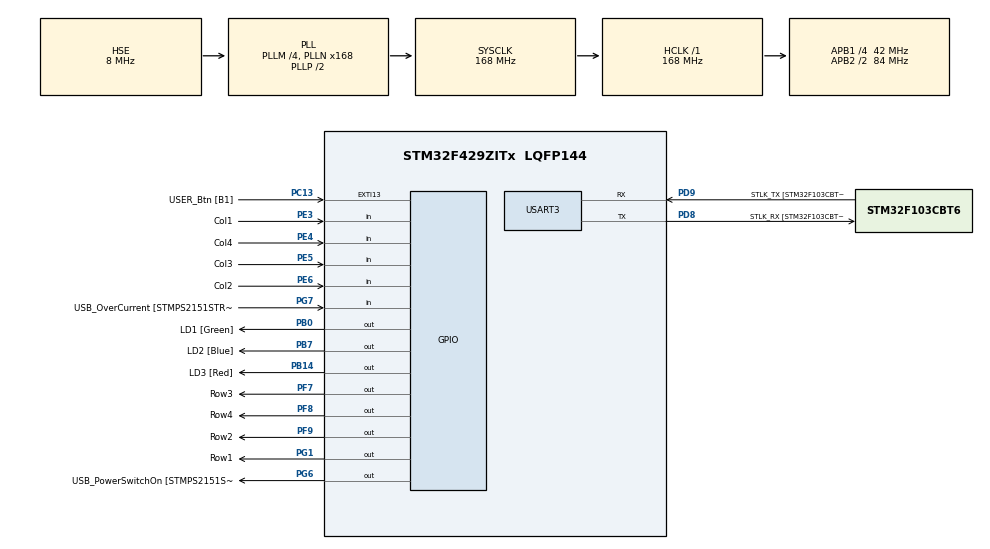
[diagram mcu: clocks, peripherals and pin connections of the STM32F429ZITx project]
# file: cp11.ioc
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Mcu.Family=STM32F4
Mcu.Name=STM32F429ZITx
Mcu.Package=LQFP144
NVIC.PriorityGroup=NVIC_PRIORITYGROUP_4
NVIC.TIM3_IRQn=true\:0\:0\:false\:false\:true\:true\:true\:true
PA1.GPIO_Label=RMII_REF_CLK [LAN8742A-CZ-TR_REFCLK0]
PA1.Signal=ETH_REF_CLK
PA10.GPIO_Label=USB_ID
PA10.Signal=USB_OTG_FS_ID
PA11.GPIO_Label=USB_DM
PA11.Signal=USB_OTG_FS_DM
PA12.GPIO_Label=USB_DP
PA12.Signal=USB_OTG_FS_DP
PA13.GPIO_Label=TMS
PA13.Mode=Serial_Wire
PA13.Signal=SYS_JTMS-SWDIO
PA14.GPIO_Label=TCK
PA14.Mode=Serial_Wire
PA14.Signal=SYS_JTCK-SWCLK
PA2.GPIO_Label=RMII_MDIO [LAN8742A-CZ-TR_MDIO]
PA2.Signal=ETH_MDIO
PA7.GPIO_Label=RMII_CRS_DV [LAN8742A-CZ-TR_CRS_DV]
PA7.Signal=ETH_CRS_DV
PA8.GPIO_Label=USB_SOF [TP1]
PA8.Signal=USB_OTG_FS_SOF
PA9.GPIO_Label=USB_VBUS
PA9.Signal=USB_OTG_FS_VBUS
PB0.GPIO_Label=LD1 [Green]
PB0.GPIO_ModeDefaultOutputPP=GPIO_MODE_OUTPUT_OD
PB0.GPIO_PuPd=GPIO_PULLUP
PB0.Signal=GPIO_Output
PB13.GPIO_Label=RMII_TXD1 [LAN8742A-CZ-TR_TXD1]
PB13.Signal=ETH_TXD1
PB14.GPIO_Label=LD3 [Red]
PB14.GPIO_ModeDefaultOutputPP=GPIO_MODE_OUTPUT_OD
PB14.GPIO_PuPd=GPIO_PULLUP
PB14.Signal=GPIO_Output
PB7.GPIO_Label=LD2 [Blue]
PB7.GPIO_ModeDefaultOutputPP=GPIO_MODE_OUTPUT_OD
PB7.GPIO_PuPd=GPIO_PULLUP
PB7.Signal=GPIO_Output
PC1.GPIO_Label=RMII_MDC [LAN8742A-CZ-TR_MDC]
PC1.Signal=ETH_MDC
PC13.GPIO_Label=USER_Btn [B1]
PC13.Signal=GPXTI13
PC14/OSC32_IN.Mode=LSE-External-Oscillator
PC14/OSC32_IN.Signal=RCC_OSC32_IN
PC15/OSC32_OUT.Mode=LSE-External-Oscillator
PC15/OSC32_OUT.Signal=RCC_OSC32_OUT
PC4.GPIO_Label=RMII_RXD0 [LAN8742A-CZ-TR_RXD0]
PC4.Signal=ETH_RXD0
PC5.GPIO_Label=RMII_RXD1 [LAN8742A-CZ-TR_RXD1]
PC5.Signal=ETH_RXD1
PD8.GPIO_Label=STLK_RX [STM32F103CBT6_PA3]
PD8.Mode=Asynchronous
PD8.Signal=USART3_TX
PD9.GPIO_Label=STLK_TX [STM32F103CBT6_PA2]
PD9.Mode=Asynchronous
PD9.Signal=USART3_RX
PE3.GPIO_Label=Col1
PE3.GPIO_PuPd=GPIO_PULLUP
PE3.Signal=GPIO_Input
PE4.GPIO_Label=Col4
PE4.GPIO_PuPd=GPIO_PULLUP
PE4.Signal=GPIO_Input
PE5.GPIO_Label=Col3
PE5.GPIO_PuPd=GPIO_PULLUP
PE5.Signal=GPIO_Input
PE6.GPIO_Label=Col2
PE6.GPIO_PuPd=GPIO_PULLUP
PE6.Signal=GPIO_Input
PF7.GPIO_Label=Row3
PF7.GPIO_ModeDefaultOutputPP=GPIO_MODE_OUTPUT_OD
PF7.GPIO_PuPd=GPIO_PULLUP
PF7.Signal=GPIO_Output
PF8.GPIO_Label=Row4
PF8.GPIO_ModeDefaultOutputPP=GPIO_MODE_OUTPUT_OD
PF8.GPIO_PuPd=GPIO_PULLUP
PF8.Signal=GPIO_Output
PF9.GPIO_Label=Row2
PF9.GPIO_ModeDefaultOutputPP=GPIO_MODE_OUTPUT_OD
PF9.GPIO_PuPd=GPIO_PULLUP
PF9.Signal=GPIO_Output
PG1.GPIO_Label=Row1
PG1.GPIO_ModeDefaultOutputPP=GPIO_MODE_OUTPUT_OD
PG1.GPIO_PuPd=GPIO_PULLUP
PG1.Signal=GPIO_Output
PG11.GPIO_Label=RMII_TX_EN [LAN8742A-CZ-TR_TXEN]
PG11.Signal=ETH_TX_EN
PG13.GPIO_Label=RMII_TXD0 [LAN8742A-CZ-TR_TXD0]
PG13.Signal=ETH_TXD0
PG6.GPIO_Label=USB_PowerSwitchOn [STMPS2151STR_EN]
PG6.GPIO_ModeDefaultOutputPP=GPIO_MODE_OUTPUT_OD
PG6.GPIO_PuPd=GPIO_PULLUP
PG6.Signal=GPIO_Output
PG7.GPIO_Label=USB_OverCurrent [STMPS2151STR_FAULT]
PG7.Signal=GPIO_Input
PH0/OSC_IN.GPIO_Label=MCO [STM32F103CBT6_PA8]
PH0/OSC_IN.Mode=HSE-External-Clock-Source
PH0/OSC_IN.Signal=RCC_OSC_IN
PH1/OSC_OUT.Mode=HSE-External-Clock-Source
PH1/OSC_OUT.Signal=RCC_OSC_OUT
ProjectManager.HeapSize=0x200
ProjectManager.StackSize=0x400
ProjectManager.TargetToolchain=STM32CubeIDE
RCC.48MHZClocksFreq_Value=48000000
RCC.AHBFreq_Value=168000000
RCC.APB1CLKDivider=RCC_HCLK_DIV4
RCC.APB1Freq_Value=42000000
RCC.APB1TimFreq_Value=84000000
RCC.APB2CLKDivider=RCC_HCLK_DIV2
RCC.APB2Freq_Value=84000000
RCC.APB2TimCLKDivider=2
RCC.APB2TimFreq_Value=168000000
RCC.CortexFreq_Value=168000000
RCC.HCLKFreq_Value=168000000
RCC.HSE_VALUE=8000000
RCC.HSI_VALUE=16000000
RCC.PLLM=4
RCC.PLLMUL=RCC_PLL_MUL9
RCC.PLLN=168
RCC.PLLQ=7
RCC.PLLSourceVirtual=RCC_PLLSOURCE_HSE
RCC.PRESCALERUSB=RCC_USBCLKSOURCE_PLL_DIV1_5
RCC.SYSCLKFreq_VALUE=168000000
RCC.SYSCLKSource=RCC_SYSCLKSOURCE_PLLCLK
RCC.SYSCLKSourceVirtual=RCC_SYSCLKSOURCE_PLLCLK
RCC.USBFreq_Value=48000000
RCC.VCOOutputFreq_Value=336000000
TIM3.AutoReloadPreload=TIM_AUTORELOAD_PRELOAD_ENABLE
TIM3.Period=99
TIM3.Prescaler=8399
USART3.VirtualMode=VM_ASYNC
VP_TIM3_VS_ClockSourceINT.Mode=Internal
board=NUCLEO-F429ZI

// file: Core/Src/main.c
/* USER CODE BEGIN Header */
/**
  ******************************************************************************
  * @file           : main.c
  * @brief          : Main program body
  ******************************************************************************
  * @attention
  *
  * Copyright (c) 2024 STMicroelectronics.
  * All rights reserved.
  *
  * This software is licensed under terms that can be found in the LICENSE file
  * in the root directory of this software component.
  * If no LICENSE file comes with this software, it is provided AS-IS.
  *
  ******************************************************************************
  */
/* USER CODE END Header */
#include "main.h"

/* USER CODE BEGIN Includes */
#include <stdio.h>
/* USER CODE END Includes */

TIM_HandleTypeDef htim3;

UART_HandleTypeDef huart3;

/* USER CODE BEGIN PV */
static volatile key = -1;
/* USER CODE END PV */

void SystemClock_Config(void);
static void MX_GPIO_Init(void);
static void MX_USART3_UART_Init(void);
static void MX_TIM3_Init(void);

/* USER CODE BEGIN 0 */

int __io_putchar(int ch)
{
ITM_SendChar(ch);
return 0;
}

/* USER CODE END 0 */

int main(void)
{

  /* MCU Configuration--------------------------------------------------------*/

  /* Reset of all peripherals, Initializes the Flash interface and the Systick. */
  HAL_Init();

  /* Configure the system clock */
  SystemClock_Config();

  /* Initialize all configured peripherals */
  MX_GPIO_Init();
  MX_USART3_UART_Init();
  MX_TIM3_Init();
  /* USER CODE BEGIN 2 */
  HAL_TIM_Base_Start_IT(&htim3);
  printf("Test\n");

  /* USER CODE END 2 */

  /* Infinite loop */
  /* USER CODE BEGIN WHILE */
  while (1)
  {

	//  HAL_GPIO_TogglePin(LD1_GPIO_Port, LD1_Pin);
	//  HAL_Delay(300);
	//  printf("Hello, World!\n");

	  if (key != 0) {
	   printf("stisknuto '%c'\n", key);
	   HAL_Delay(500);
	   key = 0;
	  }

    /* USER CODE END WHILE */

  }
}

void SystemClock_Config(void)
{
  RCC_OscInitTypeDef RCC_OscInitStruct = {0};
  RCC_ClkInitTypeDef RCC_ClkInitStruct = {0};

  /** Configure the main internal regulator output voltage
  */
  __HAL_RCC_PWR_CLK_ENABLE();
  __HAL_PWR_VOLTAGESCALING_CONFIG(PWR_REGULATOR_VOLTAGE_SCALE1);

  /** Initializes the RCC Oscillators according to the specified parameters
  * in the RCC_OscInitTypeDef structure.
  */
  RCC_OscInitStruct.OscillatorType = RCC_OSCILLATORTYPE_HSE;
  RCC_OscInitStruct.HSEState = RCC_HSE_BYPASS;
  RCC_OscInitStruct.PLL.PLLState = RCC_PLL_ON;
  RCC_OscInitStruct.PLL.PLLSource = RCC_PLLSOURCE_HSE;
  RCC_OscInitStruct.PLL.PLLM = 4;
  RCC_OscInitStruct.PLL.PLLN = 168;
  RCC_OscInitStruct.PLL.PLLP = RCC_PLLP_DIV2;
  RCC_OscInitStruct.PLL.PLLQ = 7;
  if (HAL_RCC_OscConfig(&RCC_OscInitStruct) != HAL_OK)
  {
    Error_Handler();
  }

  /** Initializes the CPU, AHB and APB buses clocks
  */
  RCC_ClkInitStruct.ClockType = RCC_CLOCKTYPE_HCLK|RCC_CLOCKTYPE_SYSCLK
                              |RCC_CLOCKTYPE_PCLK1|RCC_CLOCKTYPE_PCLK2;
  RCC_ClkInitStruct.SYSCLKSource = RCC_SYSCLKSOURCE_PLLCLK;
  RCC_ClkInitStruct.AHBCLKDivider = RCC_SYSCLK_DIV1;
  RCC_ClkInitStruct.APB1CLKDivider = RCC_HCLK_DIV4;
  RCC_ClkInitStruct.APB2CLKDivider = RCC_HCLK_DIV2;

  if (HAL_RCC_ClockConfig(&RCC_ClkInitStruct, FLASH_LATENCY_5) != HAL_OK)
  {
    Error_Handler();
  }
}

static void MX_TIM3_Init(void)
{

  TIM_ClockConfigTypeDef sClockSourceConfig = {0};
  TIM_MasterConfigTypeDef sMasterConfig = {0};

  htim3.Instance = TIM3;
  htim3.Init.Prescaler = 8399;
  htim3.Init.CounterMode = TIM_COUNTERMODE_UP;
  htim3.Init.Period = 99;
  htim3.Init.ClockDivision = TIM_CLOCKDIVISION_DIV1;
  htim3.Init.AutoReloadPreload = TIM_AUTORELOAD_PRELOAD_ENABLE;
  if (HAL_TIM_Base_Init(&htim3) != HAL_OK)
  {
    Error_Handler();
  }
  sClockSourceConfig.ClockSource = TIM_CLOCKSOURCE_INTERNAL;
  if (HAL_TIM_ConfigClockSource(&htim3, &sClockSourceConfig) != HAL_OK)
  {
    Error_Handler();
  }
  sMasterConfig.MasterOutputTrigger = TIM_TRGO_RESET;
  sMasterConfig.MasterSlaveMode = TIM_MASTERSLAVEMODE_DISABLE;
  if (HAL_TIMEx_MasterConfigSynchronization(&htim3, &sMasterConfig) != HAL_OK)
  {
    Error_Handler();
  }

}

static void MX_USART3_UART_Init(void)
{

  huart3.Instance = USART3;
  huart3.Init.BaudRate = 115200;
  huart3.Init.WordLength = UART_WORDLENGTH_8B;
  huart3.Init.StopBits = UART_STOPBITS_1;
  huart3.Init.Parity = UART_PARITY_NONE;
  huart3.Init.Mode = UART_MODE_TX_RX;
  huart3.Init.HwFlowCtl = UART_HWCONTROL_NONE;
  huart3.Init.OverSampling = UART_OVERSAMPLING_16;
  if (HAL_UART_Init(&huart3) != HAL_OK)
  {
    Error_Handler();
  }

}

static void MX_GPIO_Init(void)
{
  GPIO_InitTypeDef GPIO_InitStruct = {0};

  /* GPIO Ports Clock Enable */
  __HAL_RCC_GPIOE_CLK_ENABLE();
  __HAL_RCC_GPIOC_CLK_ENABLE();
  __HAL_RCC_GPIOF_CLK_ENABLE();
  __HAL_RCC_GPIOH_CLK_ENABLE();
  __HAL_RCC_GPIOA_CLK_ENABLE();
  __HAL_RCC_GPIOB_CLK_ENABLE();
  __HAL_RCC_GPIOG_CLK_ENABLE();
  __HAL_RCC_GPIOD_CLK_ENABLE();

  /*Configure GPIO pin Output Level */
  HAL_GPIO_WritePin(GPIOF, Row3_Pin|Row4_Pin|Row2_Pin, GPIO_PIN_RESET);

  /*Configure GPIO pin Output Level */
  HAL_GPIO_WritePin(GPIOB, LD1_Pin|LD3_Pin|LD2_Pin, GPIO_PIN_RESET);

  /*Configure GPIO pin Output Level */
  HAL_GPIO_WritePin(GPIOG, Row1_Pin|USB_PowerSwitchOn_Pin, GPIO_PIN_RESET);

  /*Configure GPIO pins : Col1_Pin Col4_Pin Col3_Pin Col2_Pin */
  GPIO_InitStruct.Pin = Col1_Pin|Col4_Pin|Col3_Pin|Col2_Pin;
  GPIO_InitStruct.Mode = GPIO_MODE_INPUT;
  GPIO_InitStruct.Pull = GPIO_PULLUP;
  HAL_GPIO_Init(GPIOE, &GPIO_InitStruct);

  /*Configure GPIO pin : USER_Btn_Pin */
  GPIO_InitStruct.Pin = USER_Btn_Pin;
  GPIO_InitStruct.Mode = GPIO_MODE_IT_RISING;
  GPIO_InitStruct.Pull = GPIO_NOPULL;
  HAL_GPIO_Init(USER_Btn_GPIO_Port, &GPIO_InitStruct);

  /*Configure GPIO pins : Row3_Pin Row4_Pin Row2_Pin */
  GPIO_InitStruct.Pin = Row3_Pin|Row4_Pin|Row2_Pin;
  GPIO_InitStruct.Mode = GPIO_MODE_OUTPUT_OD;
  GPIO_InitStruct.Pull = GPIO_PULLUP;
  GPIO_InitStruct.Speed = GPIO_SPEED_FREQ_LOW;
  HAL_GPIO_Init(GPIOF, &GPIO_InitStruct);

  /*Configure GPIO pins : RMII_MDC_Pin RMII_RXD0_Pin RMII_RXD1_Pin */
  GPIO_InitStruct.Pin = RMII_MDC_Pin|RMII_RXD0_Pin|RMII_RXD1_Pin;
  GPIO_InitStruct.Mode = GPIO_MODE_AF_PP;
  GPIO_InitStruct.Pull = GPIO_NOPULL;
  GPIO_InitStruct.Speed = GPIO_SPEED_FREQ_VERY_HIGH;
  GPIO_InitStruct.Alternate = GPIO_AF11_ETH;
  HAL_GPIO_Init(GPIOC, &GPIO_InitStruct);

  /*Configure GPIO pins : RMII_REF_CLK_Pin RMII_MDIO_Pin RMII_CRS_DV_Pin */
  GPIO_InitStruct.Pin = RMII_REF_CLK_Pin|RMII_MDIO_Pin|RMII_CRS_DV_Pin;
  GPIO_InitStruct.Mode = GPIO_MODE_AF_PP;
  GPIO_InitStruct.Pull = GPIO_NOPULL;
  GPIO_InitStruct.Speed = GPIO_SPEED_FREQ_VERY_HIGH;
  GPIO_InitStruct.Alternate = GPIO_AF11_ETH;
  HAL_GPIO_Init(GPIOA, &GPIO_InitStruct);

  /*Configure GPIO pins : LD1_Pin LD3_Pin LD2_Pin */
  GPIO_InitStruct.Pin = LD1_Pin|LD3_Pin|LD2_Pin;
  GPIO_InitStruct.Mode = GPIO_MODE_OUTPUT_OD;
  GPIO_InitStruct.Pull = GPIO_PULLUP;
  GPIO_InitStruct.Speed = GPIO_SPEED_FREQ_LOW;
  HAL_GPIO_Init(GPIOB, &GPIO_InitStruct);

  /*Configure GPIO pins : Row1_Pin USB_PowerSwitchOn_Pin */
  GPIO_InitStruct.Pin = Row1_Pin|USB_PowerSwitchOn_Pin;
  GPIO_InitStruct.Mode = GPIO_MODE_OUTPUT_OD;
  GPIO_InitStruct.Pull = GPIO_PULLUP;
  GPIO_InitStruct.Speed = GPIO_SPEED_FREQ_LOW;
  HAL_GPIO_Init(GPIOG, &GPIO_InitStruct);

  /*Configure GPIO pin : RMII_TXD1_Pin */
  GPIO_InitStruct.Pin = RMII_TXD1_Pin;
  GPIO_InitStruct.Mode = GPIO_MODE_AF_PP;
  GPIO_InitStruct.Pull = GPIO_NOPULL;
  GPIO_InitStruct.Speed = GPIO_SPEED_FREQ_VERY_HIGH;
  GPIO_InitStruct.Alternate = GPIO_AF11_ETH;
  HAL_GPIO_Init(RMII_TXD1_GPIO_Port, &GPIO_InitStruct);

  /*Configure GPIO pin : USB_OverCurrent_Pin */
  GPIO_InitStruct.Pin = USB_OverCurrent_Pin;
  GPIO_InitStruct.Mode = GPIO_MODE_INPUT;
  GPIO_InitStruct.Pull = GPIO_NOPULL;
  HAL_GPIO_Init(USB_OverCurrent_GPIO_Port, &GPIO_InitStruct);

  /*Configure GPIO pins : USB_SOF_Pin USB_ID_Pin USB_DM_Pin USB_DP_Pin */
  GPIO_InitStruct.Pin = USB_SOF_Pin|USB_ID_Pin|USB_DM_Pin|USB_DP_Pin;
  GPIO_InitStruct.Mode = GPIO_MODE_AF_PP;
  GPIO_InitStruct.Pull = GPIO_NOPULL;
  GPIO_InitStruct.Speed = GPIO_SPEED_FREQ_VERY_HIGH;
  GPIO_InitStruct.Alternate = GPIO_AF10_OTG_FS;
  HAL_GPIO_Init(GPIOA, &GPIO_InitStruct);

  /*Configure GPIO pin : USB_VBUS_Pin */
  GPIO_InitStruct.Pin = USB_VBUS_Pin;
  GPIO_InitStruct.Mode = GPIO_MODE_INPUT;
  GPIO_InitStruct.Pull = GPIO_NOPULL;
  HAL_GPIO_Init(USB_VBUS_GPIO_Port, &GPIO_InitStruct);

  /*Configure GPIO pins : RMII_TX_EN_Pin RMII_TXD0_Pin */
  GPIO_InitStruct.Pin = RMII_TX_EN_Pin|RMII_TXD0_Pin;
  GPIO_InitStruct.Mode = GPIO_MODE_AF_PP;
  GPIO_InitStruct.Pull = GPIO_NOPULL;
  GPIO_InitStruct.Speed = GPIO_SPEED_FREQ_VERY_HIGH;
  GPIO_InitStruct.Alternate = GPIO_AF11_ETH;
  HAL_GPIO_Init(GPIOG, &GPIO_InitStruct);

}

/* USER CODE BEGIN 4 */

void HAL_TIM_PeriodElapsedCallback(TIM_HandleTypeDef *htim)

{
    static uint8_t row = 0; // Indikátor aktuálního řádku
    static const char keyboard[4][4] = {
        { '1', '2', '3', 'A' },
        { '4', '5', '6', 'B' },
        { '7', '8', '9', 'C' },
        { '*', '0', '#', 'D' }
    };

    // Pokud je proměnná key nulová (žádná klávesa dosud stisknuta)
    if (key == 0) {
        // Kontrola stisknutí tlacítka pro aktuální řádek
        if (HAL_GPIO_ReadPin(Col1_GPIO_Port, Col1_Pin) == GPIO_PIN_RESET) key = keyboard[row][0];
        if (HAL_GPIO_ReadPin(Col2_GPIO_Port, Col2_Pin) == GPIO_PIN_RESET) key = keyboard[row][1];
        if (HAL_GPIO_ReadPin(Col3_GPIO_Port, Col3_Pin) == GPIO_PIN_RESET) key = keyboard[row][2];
        if (HAL_GPIO_ReadPin(Col4_GPIO_Port, Col4_Pin) == GPIO_PIN_RESET) key = keyboard[row][3];
    }

    // Deaktivace všech řádků (všechny řádky na vysoké)
    HAL_GPIO_WritePin(Row1_GPIO_Port, Row1_Pin, GPIO_PIN_SET);
    HAL_GPIO_WritePin(Row2_GPIO_Port, Row2_Pin, GPIO_PIN_SET);
    HAL_GPIO_WritePin(Row3_GPIO_Port, Row3_Pin, GPIO_PIN_SET);
    HAL_GPIO_WritePin(Row4_GPIO_Port, Row4_Pin, GPIO_PIN_SET);

    // Aktivace řádku pro skenování (přepnutí na nízký stav)
    switch (row) {
        case 0:
            row = 1;
            HAL_GPIO_WritePin(Row2_GPIO_Port, Row2_Pin, GPIO_PIN_RESET);
            break;
        case 1:
            row = 2;
            HAL_GPIO_WritePin(Row3_GPIO_Port, Row3_Pin, GPIO_PIN_RESET);
            break;
        case 2:
            row = 3;
            HAL_GPIO_WritePin(Row4_GPIO_Port, Row4_Pin, GPIO_PIN_RESET);
            break;
        case 3:
            row = 0;
            HAL_GPIO_WritePin(Row1_GPIO_Port, Row1_Pin, GPIO_PIN_RESET);
            break;
    }
}

/* USER CODE END 4 */

void Error_Handler(void)
{
  __disable_irq();
  while (1)
  {
  }
}
